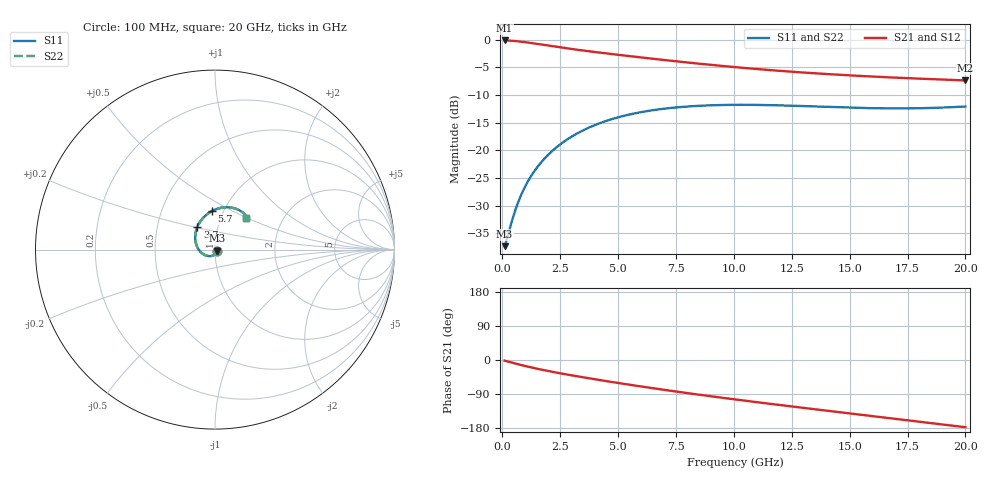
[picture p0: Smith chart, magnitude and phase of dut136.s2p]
! Created with skrf 1.9.0 (http://scikit-rf.org).
# GHz S RI R 50.0
!freq ReS11 ImS11 ReS21 ImS21 ReS12 ImS12 ReS22 ImS22
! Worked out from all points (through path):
!   200 points, 100 MHz to 20 GHz, reference 50 ohm
!   highest |S21| = -0.12 dB at 100 MHz (marker M1); lowest = -7.3 dB at 20 GHz (marker M2)
!   group delay of S21, straight-line fit = 23.2 ps
!   lowest |S11| = -37.3 dB at 100 MHz (marker M3), VSWR 1.03, Z = 51.2 - j0.601 ohm
!   |S11| at or under -10 dB: start of sweep to end of sweep
!   |S22| runs from -37.3 to -11.8 dB; largest |S21 - S12| = 2.4e-15
!   S11 on the Smith chart (normalised r, x): 100 MHz: 1.02, -0.01; 3.7 GHz: 0.80, +0.20; 5.7 GHz: 0.88, +0.40; 20 GHz: 1.32, +0.50
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0.1  0.0122 -0.00587  0.9864 -0.0288  0.9864 -0.0288  0.0122 -0.00587
0.2  0.0107 -0.0115  0.9839 -0.0576  0.9839 -0.0576  0.0107 -0.0115
0.5  0.000255 -0.0262  0.967 -0.1407  0.967 -0.1407  0.000255 -0.0262
0.7  -0.0107 -0.0329  0.9491 -0.1923  0.9491 -0.1923  -0.0107 -0.0329
1  -0.0306 -0.0365  0.9148 -0.2623  0.9148 -0.2623  -0.0306 -0.0365
1.3  -0.0518 -0.0323  0.8746 -0.3231  0.8746 -0.3231  -0.0518 -0.0323
1.7  -0.0772 -0.0162  0.8168 -0.3907  0.8168 -0.3907  -0.0772 -0.0162
2.2  -0.0994 0.0153  0.7429 -0.4577  0.7429 -0.4577  -0.0994 0.0153
2.8  -0.1101 0.06  0.656 -0.5194  0.656 -0.5194  -0.1101 0.06
3.5  -0.1038 0.1112  0.558 -0.5728  0.558 -0.5728  -0.1038 0.1112
3.7  -0.0991 0.1246  0.5307 -0.5851  0.5307 -0.5851  -0.0991 0.1246
4.6  -0.0674 0.1754  0.411 -0.6262  0.411 -0.6262  -0.0674 0.1754
5.7  -0.0167 0.2149  0.2734 -0.6488  0.2734 -0.6488  -0.0167 0.2149
6.8  0.0348 0.2329  0.1482 -0.6465  0.1482 -0.6465  0.0348 0.2329
8.4  0.0979 0.2325  -0.00791 -0.6111  -0.00791 -0.6111  0.0979 0.2325
10.1  0.1434 0.2146  -0.1403 -0.5472  -0.1403 -0.5472  0.1434 0.2146
11.7  0.1674 0.1938  -0.2373 -0.4733  -0.2373 -0.4733  0.1674 0.1938
13.4  0.1781 0.1753  -0.3159 -0.3868  -0.3159 -0.3868  0.1781 0.1753
15  0.1793 0.1647  -0.3702 -0.3007  -0.3702 -0.3007  0.1793 0.1647
16.7  0.1765 0.162  -0.4087 -0.2059  -0.4087 -0.2059  0.1765 0.162
18.4  0.174 0.1673  -0.4281 -0.1095  -0.4281 -0.1095  0.174 0.1673
20  0.175 0.1777  -0.4288 -0.0197  -0.4288 -0.0197  0.175 0.1777
